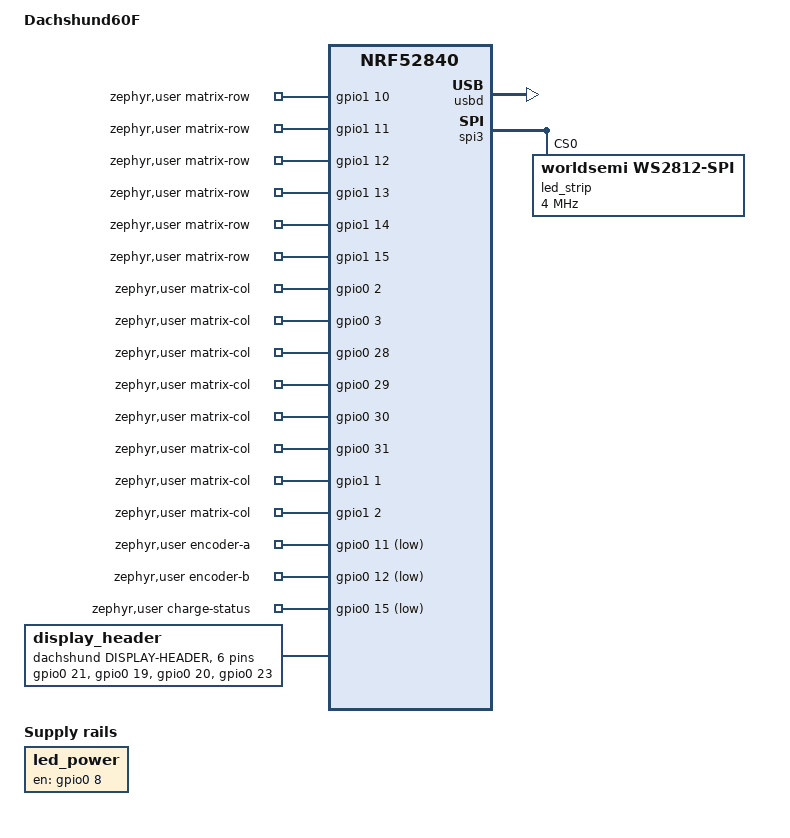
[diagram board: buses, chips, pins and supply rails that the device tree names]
/*
 * Dachshund60F: Raytac MDBT50Q-1MV2 (nRF52840), 6x15 COL2ROW matrix,
 * one encoder, six SK6812MINI-E indicators.
 *
 * Every pin here comes from board.json; host-lib's board tests check that
 * the two agree.
 */

/dts-v1/;
#include <nordic/nrf52840_qiaa.dtsi>
#include <zephyr/dt-bindings/i2c/i2c.h>
#include <zephyr/dt-bindings/led/led.h>
#include "dachshund60f-pinctrl.dtsi"

/ {
	model = "Dachshund60F";
	compatible = "dachshund,dachshund60f";

	chosen {
		zephyr,sram = &sram0;
		zephyr,flash = &flash0;
		zephyr,code-partition = &code_partition;
	};

	aliases {
		led-strip = &led_strip;
	};

	/* TPS22917 load switch feeding the SK6812 chain (LED_EN, 100k pull-down). */
	led_power: led_power {
		compatible = "regulator-fixed";
		regulator-name = "led-vdd";
		enable-gpios = <&gpio0 8 GPIO_ACTIVE_HIGH>;
		startup-delay-us = <1000>;
	};

	/*
	 * Raw pin groups until the matrix, encoder and charger drivers exist
	 * (phases 3, 9 and 13). COL2ROW: columns are driven high, rows read with
	 * pull-downs.
	 */
	zephyr,user {
		matrix-row-gpios = <&gpio1 10 (GPIO_ACTIVE_HIGH | GPIO_PULL_DOWN)>,
				   <&gpio1 11 (GPIO_ACTIVE_HIGH | GPIO_PULL_DOWN)>,
				   <&gpio1 12 (GPIO_ACTIVE_HIGH | GPIO_PULL_DOWN)>,
				   <&gpio1 13 (GPIO_ACTIVE_HIGH | GPIO_PULL_DOWN)>,
				   <&gpio1 14 (GPIO_ACTIVE_HIGH | GPIO_PULL_DOWN)>,
				   <&gpio1 15 (GPIO_ACTIVE_HIGH | GPIO_PULL_DOWN)>;
		matrix-col-gpios = <&gpio0 2 GPIO_ACTIVE_HIGH>,
				   <&gpio0 3 GPIO_ACTIVE_HIGH>,
				   <&gpio0 28 GPIO_ACTIVE_HIGH>,
				   <&gpio0 29 GPIO_ACTIVE_HIGH>,
				   <&gpio0 30 GPIO_ACTIVE_HIGH>,
				   <&gpio0 31 GPIO_ACTIVE_HIGH>,
				   <&gpio1 1 GPIO_ACTIVE_HIGH>,
				   <&gpio1 2 GPIO_ACTIVE_HIGH>,
				   <&gpio1 3 GPIO_ACTIVE_HIGH>,
				   <&gpio1 4 GPIO_ACTIVE_HIGH>,
				   <&gpio1 5 GPIO_ACTIVE_HIGH>,
				   <&gpio1 6 GPIO_ACTIVE_HIGH>,
				   <&gpio1 7 GPIO_ACTIVE_HIGH>,
				   <&gpio0 4 GPIO_ACTIVE_HIGH>,
				   <&gpio0 5 GPIO_ACTIVE_HIGH>;
		encoder-a-gpios = <&gpio0 11 (GPIO_ACTIVE_LOW | GPIO_PULL_UP)>;
		encoder-b-gpios = <&gpio0 12 (GPIO_ACTIVE_LOW | GPIO_PULL_UP)>;
		charge-status-gpios = <&gpio0 15 (GPIO_ACTIVE_LOW | GPIO_PULL_UP)>;
	};

	/*
	 * Display header J4, indexed by J4 pin number. Panel overlays in
	 * firmware/displays/ use <&display_header PIN FLAGS>.
	 */
	display_header: display_header {
		compatible = "dachshund,display-header";
		#gpio-cells = <2>;
		gpio-map-mask = <0xffffffff 0xffffffc0>;
		gpio-map-pass-thru = <0 0x3f>;
		gpio-map = <3 0 &gpio0 21 0>,	/* DIN */
			   <4 0 &gpio0 19 0>,	/* CLK */
			   <5 0 &gpio0 20 0>,	/* CS */
			   <6 0 &gpio0 23 0>,	/* DC */
			   <7 0 &gpio0 22 0>,	/* RST */
			   <8 0 &gpio0 24 0>;	/* BUSY */
	};
};

/* J4 as I2C for an OLED. Disabled until a panel overlay enables it. */
display_i2c: &i2c0 {
	compatible = "nordic,nrf-twim";
	status = "disabled";
	clock-frequency = <I2C_BITRATE_FAST>;
	pinctrl-0 = <&i2c0_default>;
	pinctrl-1 = <&i2c0_sleep>;
	pinctrl-names = "default", "sleep";
};

/* J4 as SPI for e-paper. Disabled until a panel overlay enables it. */
display_spi: &spi2 {
	compatible = "nordic,nrf-spim";
	status = "disabled";
	cs-gpios = <&display_header 5 GPIO_ACTIVE_LOW>;
	pinctrl-0 = <&spi2_default>;
	pinctrl-1 = <&spi2_sleep>;
	pinctrl-names = "default", "sleep";
};

&uicr {
	gpio-as-nreset;
};

&gpiote {
	status = "okay";
};

&gpio0 {
	status = "okay";
};

&gpio1 {
	status = "okay";
};

zephyr_udc0: &usbd {
	compatible = "nordic,nrf-usbd";
	status = "okay";
};

&spi3 {
	compatible = "nordic,nrf-spim";
	status = "okay";
	pinctrl-0 = <&spi3_default>;
	pinctrl-1 = <&spi3_sleep>;
	pinctrl-names = "default", "sleep";

	/* Chain order (keyboard.json indicator ids): layer, battery 1-4, Caps Lock. */
	led_strip: ws2812@0 {
		compatible = "worldsemi,ws2812-spi";
		reg = <0>;
		spi-max-frequency = <4000000>;
		chain-length = <6>;
		color-mapping = <LED_COLOR_ID_GREEN LED_COLOR_ID_RED LED_COLOR_ID_BLUE>;
		spi-one-frame = <0x70>;
		spi-zero-frame = <0x40>;
	};
};

/*
 * Flash layout expected by the Adafruit nRF52 UF2 bootloader (SoftDevice
 * S140 v6.1.1 area kept free at the bottom, bootloader at the top). The
 * bootloader reserves the 40 KB below itself (0xea000-0xf3fff) for app data:
 * DFU never erases it and UF2 writes there are ignored, so the code partition
 * stops at 0xea000 and storage sits inside the reserved area.
 */
&flash0 {
	partitions {
		compatible = "fixed-partitions";
		#address-cells = <1>;
		#size-cells = <1>;

		sd_partition: partition@0 {
			label = "mbr-softdevice";
			reg = <0x00000000 0x00026000>;
			read-only;
		};

		code_partition: partition@26000 {
			label = "code_partition";
			reg = <0x00026000 0x000c4000>;
		};

		storage_partition: partition@ec000 {
			label = "storage";
			reg = <0x000ec000 0x00008000>;
		};

		boot_partition: partition@f4000 {
			label = "adafruit_boot";
			reg = <0x000f4000 0x0000c000>;
			read-only;
		};
	};
};
